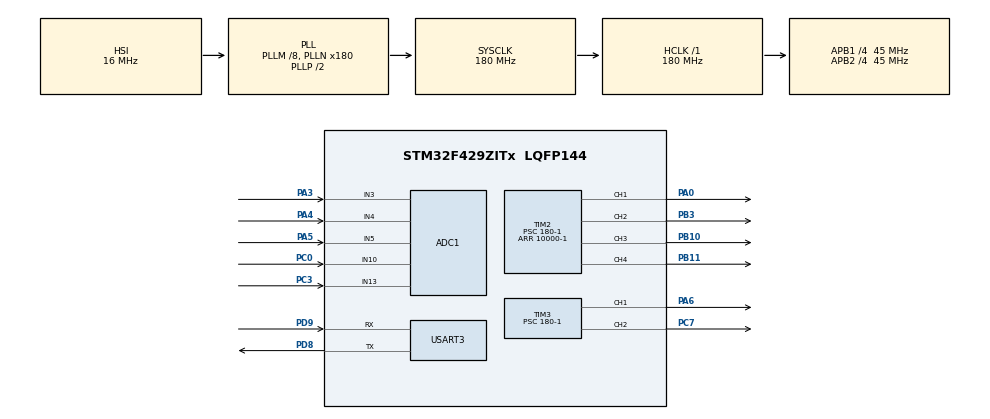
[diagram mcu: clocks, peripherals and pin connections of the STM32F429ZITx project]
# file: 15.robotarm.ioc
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ADC1.Channel-0\#ChannelRegularConversion=ADC_CHANNEL_10
ADC1.Channel-1\#ChannelRegularConversion=ADC_CHANNEL_13
ADC1.Channel-2\#ChannelRegularConversion=ADC_CHANNEL_3
ADC1.Channel-3\#ChannelRegularConversion=ADC_CHANNEL_4
ADC1.Channel-4\#ChannelRegularConversion=ADC_CHANNEL_5
ADC1.ClockPrescaler=ADC_CLOCK_SYNC_PCLK_DIV4
ADC1.ContinuousConvMode=ENABLE
ADC1.DMAContinuousRequests=ENABLE
ADC1.NbrOfConversion=5
ADC1.NbrOfConversionFlag=1
ADC1.Rank-0\#ChannelRegularConversion=1
ADC1.Rank-1\#ChannelRegularConversion=2
ADC1.Rank-2\#ChannelRegularConversion=3
ADC1.Rank-3\#ChannelRegularConversion=4
ADC1.Rank-4\#ChannelRegularConversion=5
ADC1.SamplingTime-0\#ChannelRegularConversion=ADC_SAMPLETIME_84CYCLES
ADC1.SamplingTime-1\#ChannelRegularConversion=ADC_SAMPLETIME_84CYCLES
ADC1.SamplingTime-2\#ChannelRegularConversion=ADC_SAMPLETIME_84CYCLES
ADC1.SamplingTime-3\#ChannelRegularConversion=ADC_SAMPLETIME_84CYCLES
ADC1.SamplingTime-4\#ChannelRegularConversion=ADC_SAMPLETIME_84CYCLES
ADC1.ScanConvMode=ENABLE
ADC1.master=1
Dma.ADC1.0.Direction=DMA_PERIPH_TO_MEMORY
Dma.ADC1.0.FIFOMode=DMA_FIFOMODE_DISABLE
Dma.ADC1.0.Instance=DMA2_Stream0
Dma.ADC1.0.MemDataAlignment=DMA_MDATAALIGN_HALFWORD
Dma.ADC1.0.MemInc=DMA_MINC_ENABLE
Dma.ADC1.0.Mode=DMA_CIRCULAR
Dma.ADC1.0.PeriphDataAlignment=DMA_PDATAALIGN_HALFWORD
Dma.ADC1.0.PeriphInc=DMA_PINC_DISABLE
Dma.ADC1.0.Priority=DMA_PRIORITY_LOW
Dma.Request0=ADC1
Mcu.Family=STM32F4
Mcu.Name=STM32F429ZITx
Mcu.Package=LQFP144
NVIC.DMA2_Stream0_IRQn=true\:0\:0\:false\:false\:true\:false\:true\:true
NVIC.PriorityGroup=NVIC_PRIORITYGROUP_4
NVIC.TIM2_IRQn=true\:0\:0\:false\:true\:true\:2\:true\:true\:true
NVIC.TIM3_IRQn=true\:0\:0\:false\:true\:true\:3\:true\:true\:true
NVIC.USART3_IRQn=true\:0\:0\:false\:true\:true\:1\:true\:true\:true
PA0/WKUP.Signal=S_TIM2_CH1_ETR
PA13.Mode=Serial_Wire
PA13.Signal=SYS_JTMS-SWDIO
PA14.Mode=Serial_Wire
PA14.Signal=SYS_JTCK-SWCLK
PA3.Signal=ADCx_IN3
PA4.Signal=ADCx_IN4
PA5.Signal=ADCx_IN5
PA6.Signal=S_TIM3_CH1
PB10.Signal=S_TIM2_CH3
PB11.Signal=S_TIM2_CH4
PB3.Signal=S_TIM2_CH2
PC0.Signal=ADCx_IN10
PC14/OSC32_IN.Mode=LSE-External-Oscillator
PC14/OSC32_IN.Signal=RCC_OSC32_IN
PC15/OSC32_OUT.Mode=LSE-External-Oscillator
PC15/OSC32_OUT.Signal=RCC_OSC32_OUT
PC3.Signal=ADCx_IN13
PC7.Signal=S_TIM3_CH2
PD8.Mode=Asynchronous
PD8.Signal=USART3_TX
PD9.Mode=Asynchronous
PD9.Signal=USART3_RX
ProjectManager.HeapSize=0x800
ProjectManager.StackSize=0x400
ProjectManager.TargetToolchain=STM32CubeIDE
RCC.48MHZClocksFreq_Value=90000000
RCC.AHBFreq_Value=180000000
RCC.APB1CLKDivider=RCC_HCLK_DIV4
RCC.APB1Freq_Value=45000000
RCC.APB1TimFreq_Value=90000000
RCC.APB2CLKDivider=RCC_HCLK_DIV4
RCC.APB2Freq_Value=45000000
RCC.APB2TimFreq_Value=90000000
RCC.CortexFreq_Value=180000000
RCC.HCLKFreq_Value=180000000
RCC.HSE_VALUE=25000000
RCC.HSI_VALUE=16000000
RCC.PLLM=8
RCC.PLLN=180
RCC.RCC_RTC_Clock_Source=RCC_RTCCLKSOURCE_LSE
RCC.RCC_RTC_Clock_SourceVirtual=RCC_RTCCLKSOURCE_LSE
RCC.SYSCLKFreq_VALUE=180000000
RCC.SYSCLKSource=RCC_SYSCLKSOURCE_PLLCLK
RCC.VCOOutputFreq_Value=360000000
SH.ADCx_IN10.0=ADC1_IN10,IN10
SH.ADCx_IN13.0=ADC1_IN13,IN13
SH.ADCx_IN3.0=ADC1_IN3,IN3
SH.ADCx_IN4.0=ADC1_IN4,IN4
SH.ADCx_IN5.0=ADC1_IN5,IN5
SH.S_TIM2_CH1_ETR.0=TIM2_CH1,PWM Generation1 CH1
SH.S_TIM2_CH2.0=TIM2_CH2,PWM Generation2 CH2
SH.S_TIM2_CH3.0=TIM2_CH3,PWM Generation3 CH3
SH.S_TIM2_CH4.0=TIM2_CH4,PWM Generation4 CH4
SH.S_TIM3_CH1.0=TIM3_CH1,PWM Generation1 CH1
SH.S_TIM3_CH2.0=TIM3_CH2,PWM Generation2 CH2
TIM2.Channel-PWM\ Generation1\ CH1=TIM_CHANNEL_1
TIM2.Channel-PWM\ Generation2\ CH2=TIM_CHANNEL_2
TIM2.Channel-PWM\ Generation3\ CH3=TIM_CHANNEL_3
TIM2.Channel-PWM\ Generation4\ CH4=TIM_CHANNEL_4
TIM2.Period=10000-1
TIM2.Prescaler=180-1
TIM2.Pulse-PWM\ Generation1\ CH1=500
TIM2.Pulse-PWM\ Generation2\ CH2=500
TIM2.Pulse-PWM\ Generation3\ CH3=500
TIM2.Pulse-PWM\ Generation4\ CH4=500
TIM3.Channel-PWM\ Generation1\ CH1=TIM_CHANNEL_1
TIM3.Channel-PWM\ Generation2\ CH2=TIM_CHANNEL_2
TIM3.Period=10000-1
TIM3.Prescaler=180-1
TIM3.Pulse-PWM\ Generation1\ CH1=500
USART3.VirtualMode=VM_ASYNC
VP_RTC_VS_RTC_Activate.Mode=RTC_Enabled
VP_TIM2_VS_ClockSourceINT.Mode=Internal
VP_TIM3_VS_ClockSourceINT.Mode=Internal
board=custom

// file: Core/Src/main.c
/* USER CODE BEGIN Header */
/**
 ******************************************************************************
 * @file           : main.c
 * @brief          : Main program body
 ******************************************************************************
 * @attention
 *
 * Copyright (c) 2022 STMicroelectronics.
 * All rights reserved.
 *
 * This software is licensed under terms that can be found in the LICENSE file
 * in the root directory of this software component.
 * If no LICENSE file comes with this software, it is provided AS-IS.
 *
 ******************************************************************************
 */
/* USER CODE END Header */
#include "main.h"
#include "adc.h"
#include "dma.h"
#include "rtc.h"
#include "tim.h"
#include "usart.h"
#include "gpio.h"

/* USER CODE BEGIN Includes */
#include "stdio.h"
#include "string.h"
#include "stdlib.h"

/* USER CODE END Includes */

/* USER CODE BEGIN PV */

uint8_t rx_data = 0;
uint8_t flag = 0;
int __io_putchar(int ch) {
	HAL_UART_Transmit(&huart3, &ch, 1, 1000);
	return ch;
}

enum {

	MAXARM1 = 1100,
	MAXARM2 = 1100,
	MAXARM3 = 1100,
	MAXGRIPER = 900,
	MAXROTATION = 1100,

	MIDARM1 = 500,
	MIDARM2 = 600,
	MIDARM3 = 700,
	MIDGRIPER = 800,
	MIDROTATION = 550,

	MINARM1 = 500,
	MINARM2 = 550,
	MINARM3 = 300,
	MINGRIPER = 500,
	MINROTATION = 200,

	INIT_CAPACITY = 50,
	MEMORT_SV = 15
};

typedef struct {

	uint16_t *memory_arm1;
	uint16_t *memory_arm2;
	uint16_t *memory_arm3;
	uint16_t *memory_griper;
	uint16_t *memory_rotation;

} memory_value;

typedef struct {

	uint16_t arm1;
	uint16_t arm2;
	uint16_t arm3;
	uint16_t griper;
	uint16_t rotation;

} CCR_value;

CCR_value ccr;
uint16_t capacity = INIT_CAPACITY;
uint16_t adcvalue[5];
uint16_t my_abs(int16_t value);

/* USER CODE END PV */

void SystemClock_Config(void);
static void MX_NVIC_Init(void);
/* USER CODE BEGIN PFP */
void init_malloc(memory_value *memory_arm);
memory_value * resize_malloc(memory_value *memory_arm);
void robot_arm_move();
void robot_arm_memory(memory_value *memory_arm);
void robot_arm_memory_move(memory_value *memory_arm);

/* USER CODE END PFP */

int main(void)
{

  /* MCU Configuration--------------------------------------------------------*/

  /* Reset of all peripherals, Initializes the Flash interface and the Systick. */
  HAL_Init();

  /* Configure the system clock */
  SystemClock_Config();

  /* Initialize all configured peripherals */
  MX_GPIO_Init();
  MX_RTC_Init();
  MX_TIM2_Init();
  MX_DMA_Init();
  MX_TIM3_Init();
  MX_ADC1_Init();
  MX_USART3_UART_Init();

  /* Initialize interrupts */
  MX_NVIC_Init();
  /* USER CODE BEGIN 2 */

	HAL_UART_Receive_IT(&huart3, &rx_data, 1);
	HAL_TIM_PWM_Start(&htim2, TIM_CHANNEL_1);   //PA0 CCR 1  arm1
	HAL_TIM_PWM_Start(&htim2, TIM_CHANNEL_2);   //PB3 CCR 2	arm2
	HAL_TIM_PWM_Start(&htim2, TIM_CHANNEL_3);   //PB10 CCR 3 arm3
	HAL_TIM_PWM_Start(&htim3, TIM_CHANNEL_1);   //PA3 CCR 4 griper
	HAL_TIM_PWM_Start(&htim3, TIM_CHANNEL_2);   //PA3 CCR 4 griper
	HAL_ADC_Start_DMA(&hadc1,adcvalue,5);       //ADC1 CH10,2,3,4,5 ->

	memory_value memory_arm;
	init_malloc(&memory_arm);

	ccr.arm1 = MIDARM1;
	ccr.arm2 = MIDARM2;
	ccr.arm3 = MIDARM3;
	ccr.griper = MIDGRIPER;
	ccr.rotation = MIDROTATION;

  /* USER CODE END 2 */

  /* Infinite loop */
  /* USER CODE BEGIN WHILE */
	while (1) {

		if (flag == 0) {
			robot_arm_move();
		}

		if (flag == 1) {
			robot_arm_memory(&memory_arm);
		}

		if (flag == 2) {
			robot_arm_memory_move(&memory_arm);
			flag =0;
		}

    /* USER CODE END WHILE */

	}
}

void SystemClock_Config(void)
{
  RCC_OscInitTypeDef RCC_OscInitStruct = {0};
  RCC_ClkInitTypeDef RCC_ClkInitStruct = {0};

  /** Configure the main internal regulator output voltage
  */
  __HAL_RCC_PWR_CLK_ENABLE();
  __HAL_PWR_VOLTAGESCALING_CONFIG(PWR_REGULATOR_VOLTAGE_SCALE1);

  /** Initializes the RCC Oscillators according to the specified parameters
  * in the RCC_OscInitTypeDef structure.
  */
  RCC_OscInitStruct.OscillatorType = RCC_OSCILLATORTYPE_HSI|RCC_OSCILLATORTYPE_LSE;
  RCC_OscInitStruct.LSEState = RCC_LSE_ON;
  RCC_OscInitStruct.HSIState = RCC_HSI_ON;
  RCC_OscInitStruct.HSICalibrationValue = RCC_HSICALIBRATION_DEFAULT;
  RCC_OscInitStruct.PLL.PLLState = RCC_PLL_ON;
  RCC_OscInitStruct.PLL.PLLSource = RCC_PLLSOURCE_HSI;
  RCC_OscInitStruct.PLL.PLLM = 8;
  RCC_OscInitStruct.PLL.PLLN = 180;
  RCC_OscInitStruct.PLL.PLLP = RCC_PLLP_DIV2;
  RCC_OscInitStruct.PLL.PLLQ = 4;
  if (HAL_RCC_OscConfig(&RCC_OscInitStruct) != HAL_OK)
  {
    Error_Handler();
  }

  /** Activate the Over-Drive mode
  */
  if (HAL_PWREx_EnableOverDrive() != HAL_OK)
  {
    Error_Handler();
  }

  /** Initializes the CPU, AHB and APB buses clocks
  */
  RCC_ClkInitStruct.ClockType = RCC_CLOCKTYPE_HCLK|RCC_CLOCKTYPE_SYSCLK
                              |RCC_CLOCKTYPE_PCLK1|RCC_CLOCKTYPE_PCLK2;
  RCC_ClkInitStruct.SYSCLKSource = RCC_SYSCLKSOURCE_PLLCLK;
  RCC_ClkInitStruct.AHBCLKDivider = RCC_SYSCLK_DIV1;
  RCC_ClkInitStruct.APB1CLKDivider = RCC_HCLK_DIV4;
  RCC_ClkInitStruct.APB2CLKDivider = RCC_HCLK_DIV4;

  if (HAL_RCC_ClockConfig(&RCC_ClkInitStruct, FLASH_LATENCY_5) != HAL_OK)
  {
    Error_Handler();
  }
}

/**
  * @brief NVIC Configuration.
  * @retval None
  */
static void MX_NVIC_Init(void)
{
  /* USART3_IRQn interrupt configuration */
  HAL_NVIC_SetPriority(USART3_IRQn, 0, 0);
  HAL_NVIC_EnableIRQ(USART3_IRQn);
  /* TIM2_IRQn interrupt configuration */
  HAL_NVIC_SetPriority(TIM2_IRQn, 0, 0);
  HAL_NVIC_EnableIRQ(TIM2_IRQn);
  /* TIM3_IRQn interrupt configuration */
  HAL_NVIC_SetPriority(TIM3_IRQn, 0, 0);
  HAL_NVIC_EnableIRQ(TIM3_IRQn);
}

/* USER CODE BEGIN 4 */

void init_malloc(memory_value *memory_arm) {

	memory_arm->memory_arm1 = (uint16_t*) malloc(sizeof(uint16_t) * capacity);
	if (memory_arm->memory_arm1 == NULL) {
		printf("\r\n malloc falied \r\n");
		return;
	}
	memory_arm->memory_arm2 = (uint16_t*) malloc(sizeof(uint16_t) * capacity);
	if (memory_arm->memory_arm2 == NULL) {
		printf("\r\n malloc falied \r\n");
		return;
	}
	memory_arm->memory_arm3 = (uint16_t*) malloc(sizeof(uint16_t) * capacity);
	if (memory_arm->memory_arm3 == NULL) {
		printf("\r\n malloc falied \r\n");
		return;
	}
	memory_arm->memory_griper = (uint16_t*) malloc(sizeof(uint16_t) * capacity);
	if (memory_arm->memory_griper == NULL) {
		printf("\r\n malloc falied \r\n");
		return;
	}
	memory_arm->memory_rotation = (uint16_t*) malloc(sizeof(uint16_t) * capacity);
	if (memory_arm->memory_rotation == NULL) {
		printf("\r\n malloc falied \r\n");
		return;
	}

}

memory_value * resize_malloc(memory_value *memory_arm) {

	uint16_t capacity_tmp = capacity;
	capacity += INIT_CAPACITY;

	uint16_t *arm1_tmp = (uint16_t*) malloc(sizeof(uint16_t) * capacity);
	if (arm1_tmp == NULL) {
		printf("\r\n resize falied \r\n");
		return NULL;
	}
	uint16_t *arm2_tmp = (uint16_t*) malloc(sizeof(uint16_t) * capacity);
	if (arm2_tmp == NULL) {
		printf("\r\n resize falied \r\n");
		return NULL;
	}
	uint16_t *arm3_tmp = (uint16_t*) malloc(sizeof(uint16_t) * capacity);
	if (arm3_tmp == NULL) {
		printf("\r\n resize falied \r\n");
		return NULL;
	}
	uint16_t *griper_tmp = (uint16_t*) malloc(sizeof(uint16_t) * capacity);
	if (griper_tmp == NULL) {
		printf("\r\n resize falied \r\n");
		return NULL;
	}
	uint16_t *rotation_tmp = (uint16_t*) malloc(sizeof(uint16_t) * capacity);
	if (rotation_tmp == NULL) {
		printf("\r\n resize falied \r\n");
		return NULL;
	}

	printf("\r\n malloc resize %d -> %d \r\n", capacity_tmp, capacity);

	for (int i = 0; i < capacity_tmp; i++) {
		arm1_tmp[i] = memory_arm->memory_arm1[i];
		arm2_tmp[i] = memory_arm->memory_arm2[i];
		arm3_tmp[i] = memory_arm->memory_arm3[i];
		griper_tmp[i] = memory_arm->memory_griper[i];
		rotation_tmp[i] = memory_arm->memory_rotation[i];
	}

	for (int i = capacity_tmp; i < capacity; i++) {
		arm1_tmp[i] = 0;
		arm2_tmp[i] = 0;
		arm3_tmp[i] = 0;
		griper_tmp[i] = 0;
		rotation_tmp[i] = 0;
	}

	free(memory_arm->memory_arm1);
	free(memory_arm->memory_arm2);
	free(memory_arm->memory_arm3);
	free(memory_arm->memory_griper);
	free(memory_arm->memory_rotation);

	memory_arm->memory_arm1 = arm1_tmp;
	memory_arm->memory_arm2 = arm2_tmp;
	memory_arm->memory_arm3 = arm3_tmp;
	memory_arm->memory_griper = griper_tmp;
	memory_arm->memory_rotation = rotation_tmp;

	printf("\r\n resize complete \r\n");
	return memory_arm;
}

void robot_arm_move() {

	ccr.arm1 = MINARM1+(adcvalue[0] / 6.83);
	ccr.arm2 = MINARM2+(adcvalue[1]/7.5);
	ccr.arm3 = MINARM3+(adcvalue[2]/ 5.12);
	ccr.griper = MINGRIPER + (adcvalue[3]/ 10.24);
	ccr.rotation = MINROTATION + (adcvalue[4]/ 4.55);

	TIM2->CCR1 = ccr.arm1;
	TIM2->CCR2 = ccr.arm2;
	TIM2->CCR3 = ccr.arm3;
	TIM3->CCR2 = ccr.griper;
	TIM3->CCR1 = ccr.rotation;

	printf("\r\n 1: %4d, 2: %4d, 3 : %4d, 4 : %4d, 5 : %4d \r\n",adcvalue[0],adcvalue[1],adcvalue[2],adcvalue[3],adcvalue[4]);
	printf("\r\n arm1 : %d, arm2 : %d, arm3 : %d, griper4 : %d, rotation : %d  \r\n",
			ccr.arm1, ccr.arm2, ccr.arm3, ccr.griper, ccr.rotation);
	HAL_Delay(10);
}

void robot_arm_memory(memory_value *memory_arm) {

	memset(memory_arm->memory_arm1,0,sizeof(uint16_t)*capacity);
	memset(memory_arm->memory_arm2,0,sizeof(uint16_t)*capacity);
	memset(memory_arm->memory_arm3,0,sizeof(uint16_t)*capacity);
	memset(memory_arm->memory_griper,0,sizeof(uint16_t)*capacity);
	memset(memory_arm->memory_rotation,0,sizeof(uint16_t)*capacity);

	memory_arm->memory_arm1[0] = ccr.arm1;
	memory_arm->memory_arm2[0] = ccr.arm2;
	memory_arm->memory_arm3[0] = ccr.arm3;
	memory_arm->memory_griper[0] = ccr.griper;
	memory_arm->memory_rotation[0] = ccr.rotation;

	int arm1;
	int arm2;
	int arm3;
	int griper;
	int rotation;

	int i = 1;
	while (1) {
		robot_arm_move();
		arm1 = my_abs(memory_arm->memory_arm1[i - 1] - ccr.arm1);
		arm2 = my_abs(memory_arm->memory_arm2[i - 1] - ccr.arm2);
		arm3 = my_abs(memory_arm->memory_arm3[i - 1] - ccr.arm3);
		griper = my_abs(memory_arm->memory_griper[i - 1] - ccr.griper);
		rotation = my_abs(memory_arm->memory_rotation[i - 1] - ccr.rotation);

		if (arm1>MEMORT_SV ||arm2>MEMORT_SV ||arm3>MEMORT_SV ||griper>MEMORT_SV ||rotation>MEMORT_SV ){
			memory_arm->memory_arm1[i] = ccr.arm1;
			memory_arm->memory_arm2[i] = ccr.arm2;
			memory_arm->memory_arm3[i] = ccr.arm3;
			memory_arm->memory_griper[i] = ccr.griper;
			memory_arm->memory_rotation[i] = ccr.rotation;

			i++;
			if (i >= capacity) {
				memory_arm = resize_malloc(memory_arm);
			}
		}
		if (flag == 2) break;

		printf("\r\n i = %d \r\n", i);
		printf("\r\n [memory] arm1:%d, arm2:%d, arm3:%d, griper:%d, rotation:%d \r\n",
				memory_arm->memory_arm1[i-1], memory_arm->memory_arm2[i-1],
				memory_arm->memory_arm3[i-1], memory_arm->memory_griper[i-1],
				memory_arm->memory_rotation[i-1]);

	}
}

void robot_arm_memory_move(memory_value *memory_arm) {

	int i = 0;
	while (i < capacity) {

		if (memory_arm->memory_arm1[i] == 0 || memory_arm->memory_arm2[i] == 0
				|| memory_arm->memory_arm3[i] == 0
				|| memory_arm->memory_griper[i] == 0
				|| memory_arm->memory_rotation[i] == 0) {
			break;
		}
		TIM2->CCR1 = memory_arm->memory_arm1[i];
		TIM2->CCR2 = memory_arm->memory_arm2[i];
		TIM2->CCR3 = memory_arm->memory_arm3[i];
		TIM3->CCR2 = memory_arm->memory_griper[i];
		TIM3->CCR1 = memory_arm->memory_rotation[i];
		HAL_Delay(30);
		printf("\r\n [memory] i = %d,  arm1:%d, arm2:%d, arm3:%d, griper:%d, rotation:%d \r\n",i,
				memory_arm->memory_arm1[i], memory_arm->memory_arm2[i],
				memory_arm->memory_arm3[i], memory_arm->memory_griper[i],
				memory_arm->memory_rotation[i]);
		i++;
	}
	printf("\r\n memory move complete \r\n");
}

uint16_t my_abs(int16_t value){

	if(value<0) return value*-1;
	else return value;
}

void HAL_UART_RxCpltCallback(UART_HandleTypeDef *huart) {

	if (huart->Instance == USART3) {
		HAL_UART_Transmit(&huart3, &rx_data, 1, 100);
		HAL_UART_Receive_IT(&huart3, &rx_data, 1);

		switch (rx_data) {

		case '1':
			if (ccr.arm1 >=MAXARM1) {
				ccr.arm1 = MAXARM1;
			} else {
				ccr.arm1 += 10;
			}
			break;

		case '2':
			if (ccr.arm1 <= MINARM2) {
				ccr.arm1 = MINARM2;
			} else {
				ccr.arm1 -= 10;
			}
			break;

		case '5':
			if (ccr.arm2 >= MAXARM2) {
				ccr.arm2 = MAXARM2;
			} else {
				ccr.arm2 += 30;
			}
			break;
		case '4':
			if (ccr.arm2 <= MINARM2) {
				ccr.arm2 = MINARM2;
			} else {
				ccr.arm2 -= 30;
			}
			break;

		case '7':
			if (ccr.arm3 >= MAXARM3) {
				ccr.arm3 = MAXARM3;
			} else {
				ccr.arm3 += 30;
			}
			break;
		case '8':
			if (ccr.arm3 <= MINARM3) {
				ccr.arm3 = MINARM3;
			} else {
				ccr.arm3 -= 30;
			}
			break;

		case '-':
			if (ccr.griper >= MAXGRIPER) {
				ccr.griper = MAXGRIPER;
			} else {
				ccr.griper += 30;
			}
			break;
		case '=':
			if (ccr.griper <= MINGRIPER) {
				ccr.griper = MINGRIPER;
			} else {
				ccr.griper -= 30;
			}
			break;

		case 'a':
			if (ccr.rotation >= MAXROTATION) {
				ccr.rotation = MAXROTATION;
			} else {
				ccr.rotation += 30;
			}
			break;

		case 's':
			if (ccr.rotation <= MINROTATION) {
				ccr.rotation = MINROTATION;
			} else {
				ccr.rotation -= 30;
			}
			break;

		case 'q':
			flag = 0;
			break;
		case 'w':
			flag = 1;
			break;
		case 'e':
			flag = 2;
			break;

		}

	}
}

/* USER CODE END 4 */

void Error_Handler(void)
{
	__disable_irq();
	while (1) {
	}
}
